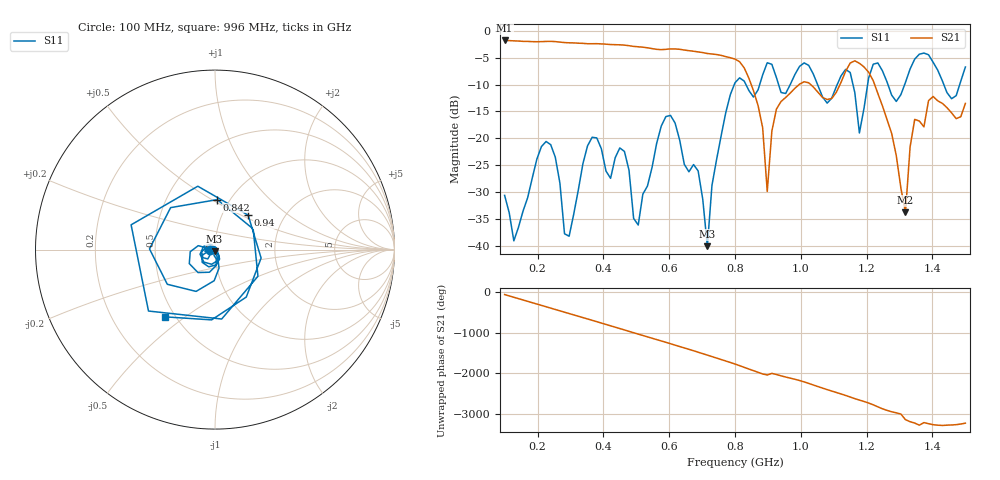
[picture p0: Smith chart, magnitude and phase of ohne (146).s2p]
! NanoVNA-App
! Date: 2025-09-25 14:21:56
! Start: 100MHz Stop: 1,5GHz Points: 101
! S-Parameter data: F S11 S21 S12 S22
# Hz S RI R 50
!  Frequency  S11_Real  S11_Imag  S21_Real  S21_Imag  S12_Real  S12_Imag  S22_Real  S22_Imag
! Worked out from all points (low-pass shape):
!   101 points, 100 MHz to 1.5 GHz, reference 50 ohm
!   highest |S21| = -1.79 dB at 100 MHz (marker M1); lowest = -33.8 dB at 1.318 GHz (marker M2)
!   |S21| within 3 dB of the highest: start of sweep to 771.1 MHz
!   lowest |S11| = -40.1 dB at 716 MHz (marker M3), VSWR 1.02, Z = 49.8 - j0.964 ohm
!   |S11| at or under -10 dB: start of sweep to 797.9 MHz; 833.2 MHz to 875 MHz (41.88 MHz wide, 4.9 % of centre); 1.051 GHz to 1.111 GHz (59.78 MHz wide, 5.53 % of centre) (the widest 3 of 7)
!   S12 and S22 are empty: the file has one direction only
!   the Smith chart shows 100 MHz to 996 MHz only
!   S11 on the Smith chart (normalised r, x): 100 MHz: 0.94, -0.01; 842 MHz: 0.88, +0.53; 940 MHz: 1.32, +0.55; 996 MHz: 0.44, -0.42
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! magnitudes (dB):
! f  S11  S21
! 100 MHz  -30.6  -1.8
! 128 MHz  -39.1  -1.9
! 226 MHz  -20.6  -2.0
! 296 MHz  -38.2  -2.2
! 338 MHz  -24.7  -2.3
! 464 MHz  -22.4  -2.7
! 506 MHz  -36.2  -3.0
! 576 MHz  -17.7  -3.5
! 688 MHz  -26.1  -3.9
! 716 MHz  -40.1  -4.2
! 800 MHz  -9.7  -5.3
! 842 MHz  -11.1  -8.8
! 898 MHz  -5.9  -29.9
! 940 MHz  -11.5  -13.2
! 996 MHz  -6.6  -9.9
! 1.038 GHz  -8.1  -10.5
! 1.178 GHz  -19.0  -6.0
! 1.22 GHz  -6.2  -9.3
! 1.276 GHz  -12.0  -19.1
! 1.318 GHz  -9.6  -33.8
! 1.346 GHz  -5.3  -16.5
! 1.5 GHz  -6.7  -13.5
